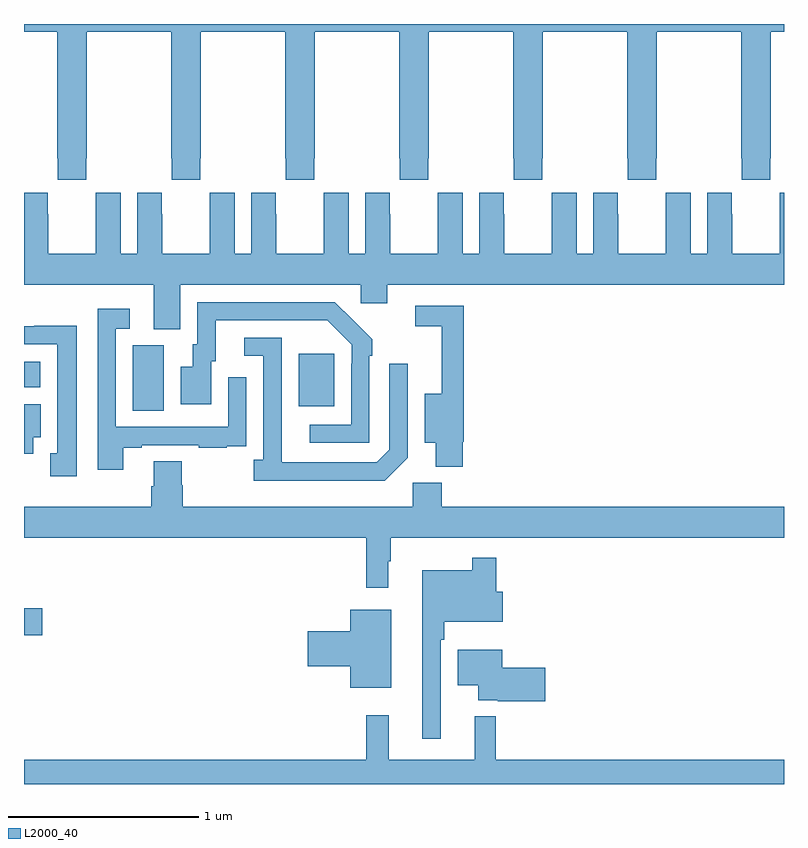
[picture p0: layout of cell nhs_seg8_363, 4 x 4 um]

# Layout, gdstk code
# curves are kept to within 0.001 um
import gdstk
lib = gdstk.Library(unit=1e-6, precision=1e-09)
def R(c, l, rs):  # rectangles x0, y0, x1, y1
    for r in rs: c.add(gdstk.rectangle(r[:2], r[2:], *l))
def P(c, l, *ps):  # polygons
    for p in ps: c.add(gdstk.Polygon(p, *l))
L2000_40 = (2000, 40)

nhs_seg8_363 = lib.new_cell('nhs_seg8_363')
R(nhs_seg8_363, L2000_40, [(135,1086.683,135.097,1086.825), (135.572,1087.864,135.736,1088.208), (136.445,1087.889,136.633,1088.164), (135,1087.988,135.085,1088.122)])
P(nhs_seg8_363, L2000_40, [(135,1089.86),(135.175,1089.86),(135.175,1089.193),(135.177,1089.193),(135.177,1089.081),(135.327,1089.081),(135.327,1089.193),(135.33,1089.193),(135.33,1089.86),(135.775,1089.86),(135.775,1089.193),(135.777,1089.193),(135.777,1089.081),(135.927,1089.081),(135.927,1089.193),(135.93,1089.193),(135.93,1089.86),(136.375,1089.86),(136.375,1089.193),(136.377,1089.193),(136.377,1089.081),(136.527,1089.081),(136.527,1089.193),(136.53,1089.193),(136.53,1089.86),(136.975,1089.86),(136.975,1089.193),(136.977,1089.193),(136.977,1089.081),(137.127,1089.081),(137.127,1089.193),(137.13,1089.193),(137.13,1089.86),(137.575,1089.86),(137.575,1089.193),(137.577,1089.193),(137.577,1089.081),(137.727,1089.081),(137.727,1089.193),(137.73,1089.193),(137.73,1089.86),(138.175,1089.86),(138.175,1089.193),(138.177,1089.193),(138.177,1089.081),(138.327,1089.081),(138.327,1089.193),(138.33,1089.193),(138.33,1089.86),(138.775,1089.86),(138.775,1089.193),(138.777,1089.193),(138.777,1089.081),(138.927,1089.081),(138.927,1089.193),(138.93,1089.193),(138.93,1089.86),(139,1089.86),(139,1089.9),(135,1089.9)],
  [(136.773,1088.43),(136.912,1088.43),(136.912,1088.528),(139,1088.528),(139,1089.013),(138.978,1089.013),(138.978,1088.9),(138.977,1088.9),(138.977,1088.692),(138.727,1088.692),(138.727,1088.9),(138.726,1088.9),(138.726,1089.013),(138.596,1089.013),(138.596,1088.692),(138.508,1088.692),(138.508,1089.013),(138.378,1089.013),(138.378,1088.9),(138.377,1088.9),(138.377,1088.692),(138.127,1088.692),(138.127,1088.9),(138.126,1088.9),(138.126,1089.013),(137.996,1089.013),(137.996,1088.692),(137.908,1088.692),(137.908,1089.013),(137.778,1089.013),(137.778,1088.9),(137.777,1088.9),(137.777,1088.692),(137.527,1088.692),(137.527,1088.9),(137.526,1088.9),(137.526,1089.013),(137.396,1089.013),(137.396,1088.692),(137.308,1088.692),(137.308,1089.013),(137.178,1089.013),(137.178,1088.9),(137.177,1088.9),(137.177,1088.692),(136.927,1088.692),(136.927,1088.9),(136.926,1088.9),(136.926,1089.013),(136.796,1089.013),(136.796,1088.692),(136.708,1088.692),(136.708,1089.013),(136.578,1089.013),(136.578,1088.9),(136.577,1088.9),(136.577,1088.692),(136.327,1088.692),(136.327,1088.9),(136.326,1088.9),(136.326,1089.013),(136.196,1089.013),(136.196,1088.692),(136.108,1088.692),(136.108,1089.013),(135.978,1089.013),(135.978,1088.9),(135.977,1088.9),(135.977,1088.692),(135.727,1088.692),(135.727,1088.9),(135.726,1088.9),(135.726,1089.013),(135.596,1089.013),(135.596,1088.692),(135.508,1088.692),(135.508,1089.013),(135.378,1089.013),(135.378,1088.9),(135.377,1088.9),(135.377,1088.692),(135.127,1088.692),(135.127,1088.9),(135.126,1088.9),(135.126,1089.013),(135,1089.013),(135,1088.528),(135.683,1088.528),(135.683,1088.293),(135.823,1088.293),(135.823,1088.528),(136.773,1088.528)],
  [(136.818,1088.153),(136.833,1088.153),(136.833,1088.241),(136.636,1088.436),(135.912,1088.436),(135.912,1088.214),(135.887,1088.214),(135.887,1088.095),(135.824,1088.095),(135.824,1087.899),(135.985,1087.899),(135.985,1088.124),(136.009,1088.124),(136.009,1088.34),(136.597,1088.34),(136.725,1088.211),(136.725,1088.111),(136.722,1088.111),(136.722,1087.791),(136.503,1087.791),(136.503,1087.695),(136.818,1087.695)],
  [(137.309,1087.701),(137.315,1087.701),(137.315,1088.418),(137.058,1088.418),(137.058,1088.31),(137.198,1088.31),(137.198,1087.954),(137.108,1087.954),(137.108,1087.697),(137.168,1087.697),(137.168,1087.571),(137.309,1087.571)],
  [(135.523,1087.671),(135.619,1087.671),(135.619,1087.683),(135.919,1087.683),(135.919,1087.671),(136.067,1087.671),(136.067,1087.677),(136.169,1087.677),(136.169,1087.786),(136.17,1087.786),(136.17,1088.041),(136.074,1088.041),(136.074,1087.779),(135.483,1087.779),(135.483,1088.295),(135.556,1088.295),(135.556,1088.401),(135.387,1088.401),(135.387,1087.554),(135.523,1087.554)],
  [(135.277,1088.312),(135.054,1088.312),(135.054,1088.31),(135,1088.31),(135,1088.214),(135.176,1088.214),(135.176,1087.641),(135.137,1087.641),(135.137,1087.521),(135.277,1087.521)],
  [(137.019,1087.617),(137.019,1088.113),(136.923,1088.113),(136.923,1087.659),(136.857,1087.593),(136.357,1087.593),(136.356,1088.25),(136.158,1088.25),(136.158,1088.154),(136.26,1088.154),(136.26,1087.606),(136.209,1087.606),(136.209,1087.496),(136.898,1087.496)],
  [(135.049,1087.724),(135.088,1087.724),(135.088,1087.9),(135,1087.9),(135,1087.637),(135.049,1087.637)],
  [(136.918,1087.073),(136.93,1087.073),(136.93,1087.196),(139,1087.196),(139,1087.36),(137.198,1087.36),(137.198,1087.486),(137.046,1087.486),(137.046,1087.36),(135.836,1087.36),(135.836,1087.473),(135.831,1087.473),(135.831,1087.598),(135.683,1087.598),(135.683,1087.466),(135.671,1087.466),(135.671,1087.36),(135,1087.36),(135,1087.196),(136.801,1087.196),(136.801,1086.933),(136.918,1086.933)],
  [(137.193,1086.659),(137.213,1086.659),(137.213,1086.755),(137.521,1086.755),(137.521,1086.913),(137.486,1086.913),(137.486,1087.09),(137.358,1087.09),(137.358,1087.024),(137.096,1087.024),(137.096,1086.138),(137.193,1086.138)],
  [(136.933,1086.817),(136.718,1086.817),(136.718,1086.704),(136.494,1086.704),(136.494,1086.521),(136.718,1086.521),(136.718,1086.407),(136.933,1086.407)],
  [(137.743,1086.512),(137.518,1086.512),(137.518,1086.607),(137.282,1086.607),(137.282,1086.419),(137.39,1086.419),(137.39,1086.341),(137.494,1086.341),(137.494,1086.336),(137.743,1086.336)],
  [(139,1086.028),(137.484,1086.028),(137.484,1086.256),(137.372,1086.256),(137.372,1086.028),(136.919,1086.028),(136.919,1086.262),(136.801,1086.262),(136.801,1086.028),(135,1086.028),(135,1085.9),(139,1085.9)])

lib.write_gds('nhs_seg8_363.gds')
